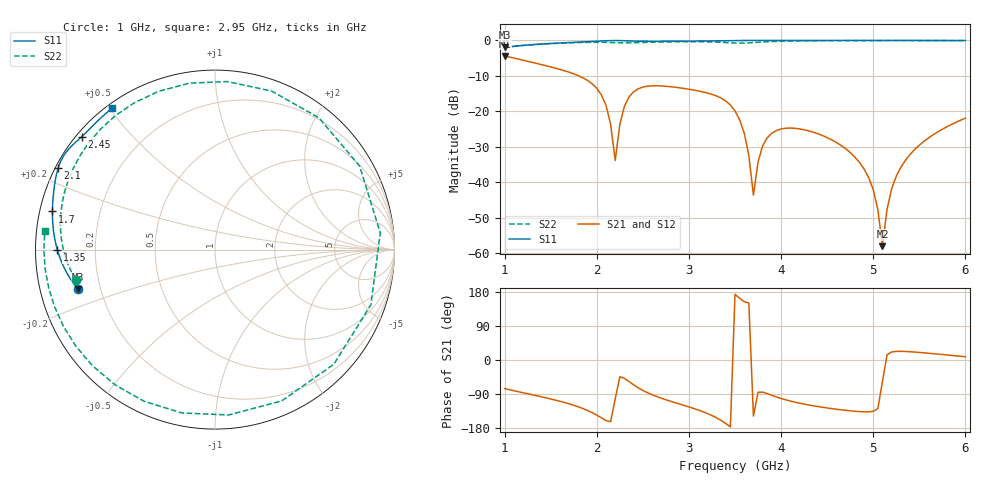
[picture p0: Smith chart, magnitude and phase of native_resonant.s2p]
! Sonnet Data File
! From: em Version : 18.53-Lite
! From Project: source
! Data is from a network
! Data File Written: 10/04/2026 02:34:14
!< HDATE 10/04/2026 02:34:14
!< MDATE 10/04/2026 02:34:14
# GHZ S RI R 50.00000
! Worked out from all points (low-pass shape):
!   101 points, 1 GHz to 6 GHz, reference 50 ohm
!   highest |S21| = -4.39 dB at 1 GHz (marker M1); lowest = -58.0 dB at 5.1 GHz (marker M2)
!   |S21| within 3 dB of the highest: start of sweep to 1.484 GHz
!   lowest |S11| = -2.0 dB at 1 GHz (marker M3), VSWR 8.72, Z = 5.84 - j6.98 ohm
!   |S11| at or under -10 dB: nowhere
!   |S22| runs from -2.0 to -0.1 dB; largest |S21 - S12| = 0
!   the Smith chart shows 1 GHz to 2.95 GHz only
!   S11 on the Smith chart (normalised r, x): 1 GHz: 0.12, -0.14; 1.35 GHz: 0.06, -0.00; 1.7 GHz: 0.04, +0.12; 2.1 GHz: 0.01, +0.25; 2.45 GHz: 0.02, +0.37; 2.95 GHz: 0.02, +0.51
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1  -0.7631 -0.2204  0.151 -0.584  0.151 -0.584  -0.7755 -0.1676
1.35  -0.878 -0.00264  -0.0366 -0.4702  -0.0366 -0.4702  -0.8614 0.1551
1.7  -0.9056 0.2124  -0.154 -0.32  -0.154 -0.32  -0.7013 0.5975
1.85  -0.9009 0.3009  -0.1828 -0.233  -0.1828 -0.233  -0.4493 0.8182
2.1  -0.8736 0.4557  -0.1143 -0.0422  -0.1143 -0.0422  0.5793 0.734
2.2  -0.8444 0.5211  -0.00457 -0.0198  -0.00457 -0.0198  0.9207 0.0939
2.3  -0.8019 0.5742  0.0783 -0.0879  0.0783 -0.0879  0.662 -0.6388
2.45  -0.7425 0.6291  0.0594 -0.199  0.0594 -0.199  -0.1843 -0.9102
2.7  -0.6605 0.7101  -0.0425 -0.2237  -0.0425 -0.2237  -0.8444 -0.4277
2.95  -0.5742 0.7868  -0.1048 -0.1812  -0.1048 -0.1812  -0.949 0.1009
3.25  -0.4608 0.8659  -0.1446 -0.0955  -0.1446 -0.0955  -0.5767 0.7515
3.5  -0.3587 0.9232  -0.1005 0.0115  -0.1005 0.0115  0.6129 0.6817
3.6  -0.3131 0.9437  -0.0444 0.0218  -0.0444 0.0218  0.9142 0.0132
3.7  -0.2649 0.9598  -0.00557 -0.0035  -0.00557 -0.0035  0.6758 -0.6372
3.8  -0.2168 0.9714  0.00295 -0.0325  0.00295 -0.0325  0.2179 -0.9217
4.05  -0.0992 0.9894  -0.015 -0.0557  -0.015 -0.0557  -0.5337 -0.8138
4.35  0.0416 0.9938  -0.026 -0.0435  -0.026 -0.0435  -0.8469 -0.5017
4.9  0.2974 0.9502  -0.0112 -0.0105  -0.0112 -0.0105  -0.9854 -0.1062
5  0.3426 0.9349  -0.00559 -0.00555  -0.00559 -0.00555  -0.9903 -0.0514
5.1  0.3872 0.9173  0.000684 -0.00105  0.000684 -0.00105  -0.992 2.55e-05
5.2  0.431 0.8975  0.00756 0.00292  0.00756 0.00292  -0.9911 0.0485
6  0.7412 0.6593  0.0791 0.0119  0.0791 0.0119  -0.9208 0.364
